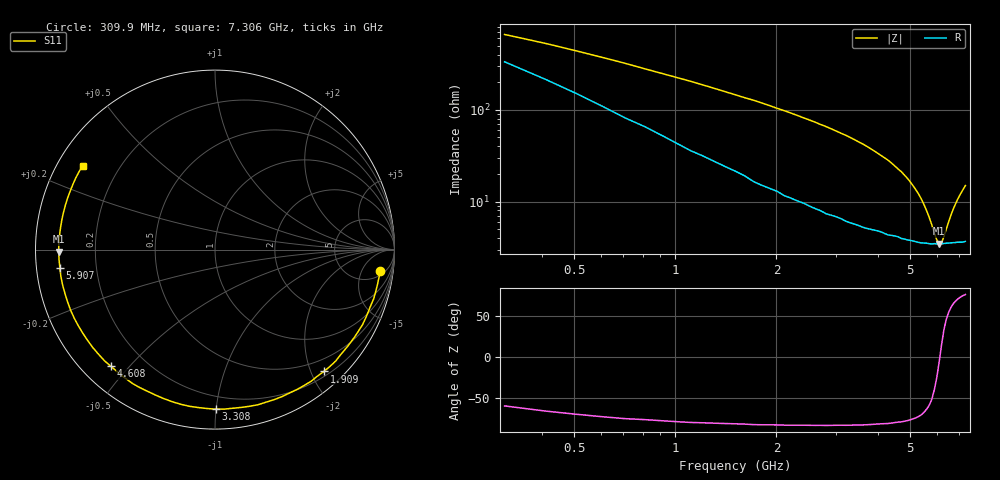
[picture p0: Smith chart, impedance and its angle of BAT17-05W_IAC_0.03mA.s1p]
! Infineon Technologies  Discrete & RF Semiconductors
! BAT17-05W
! IAC = 0.03 mA
! One-Port S-Parameters
# Hz  S  MA  R  50
!f  S11
!Hz  Mag  Ang
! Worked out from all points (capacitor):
!   71 points, 309.9 MHz to 7.306 GHz, reference 50 ohm
!   read as one part to ground: C = 798 fF near 309.9 MHz
!   lowest |Z| = 3.47 ohm at 6.107 GHz (marker M1)
!   series resonance near 6.134 GHz, so ESL is about 840 pH
!   S11 on the Smith chart (normalised r, x): 309.9 MHz: 7, -11; 1.909 GHz: 0.28, -2.20; 3.308 GHz: 0.12, -1.00; 4.608 GHz: 0.08, -0.45; 5.907 GHz: 0.07, -0.06; 7.306 GHz: 0.07, +0.29
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3.0985e8  0.9272 -7.5
7.0965e8  0.9256 -17.2
1.10945e9  0.9222 -27.1
1.2094e9  0.9191 -29.7
1.70915e9  0.9152 -42.7
1.90905e9  0.9103 -48.2
2.10895e9  0.9082 -53.9
2.30885e9  0.9033 -59.7
2.6087e9  0.8986 -68.5
2.8086e9  0.8972 -74.4
3.0085e9  0.8912 -80.6
3.30835e9  0.889 -89.8
3.6082e9  0.8846 -99.2
3.8081e9  0.8802 -105.8
4.10795e9  0.8746 -115.7
4.30785e9  0.8762 -121.7
4.6077e9  0.8711 -131.8
4.70765e9  0.8735 -134.6
5.0075e9  0.8717 -144.5
5.2074e9  0.8719 -151.0
5.4073e9  0.8723 -157.4
5.6072e9  0.871 -163.9
5.90705e9  0.8703 -173.3
6.10695e9  0.8707 -179.2
6.50675e9  0.8692 169.0
6.8066e9  0.87 160.7
7.10645e9  0.8724 152.7
7.30635e9  0.8729 147.6
